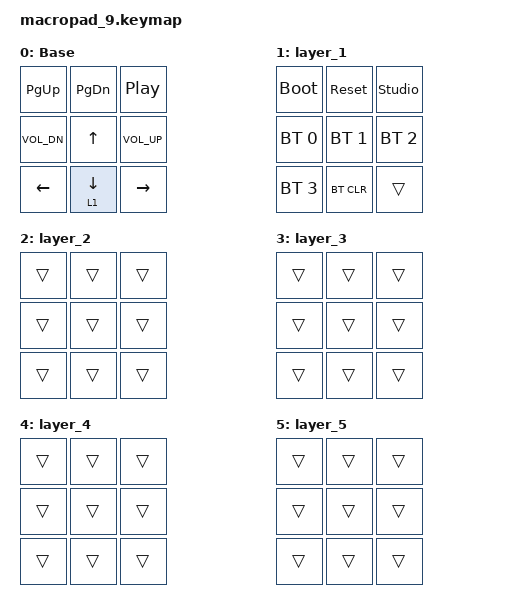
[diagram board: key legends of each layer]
#include <behaviors.dtsi>
#include <dt-bindings/zmk/bt.h>
#include <dt-bindings/zmk/keys.h>

/ {
    keymap {
        compatible = "zmk,keymap";

        default_layer {
            display-name = "Base";
            bindings = <
&kp PAGE_UP   &kp PAGE_DOWN  &kp C_PLAY_PAUSE
&kp C_VOL_DN  &kp UP_ARROW   &kp C_VOLUME_UP
&kp LEFT      &lt 1 DOWN     &kp RIGHT
            >;
        };

        layer_1 {
            bindings = <
&bootloader   &sys_reset    &studio_unlock
&bt BT_SEL 0  &bt BT_SEL 1  &bt BT_SEL 2
&bt BT_SEL 3  &bt BT_CLR    &trans
            >;
        };

        layer_2 {
            bindings = <
&trans  &trans  &trans
&trans  &trans  &trans
&trans  &trans  &trans
            >;
        };

        layer_3 {
            bindings = <
&trans  &trans  &trans
&trans  &trans  &trans
&trans  &trans  &trans
            >;
        };

        layer_4 {
            bindings = <
&trans  &trans  &trans
&trans  &trans  &trans
&trans  &trans  &trans
            >;
        };

        layer_5 {
            bindings = <
&trans  &trans  &trans
&trans  &trans  &trans
&trans  &trans  &trans
            >;
        };
    };
};
